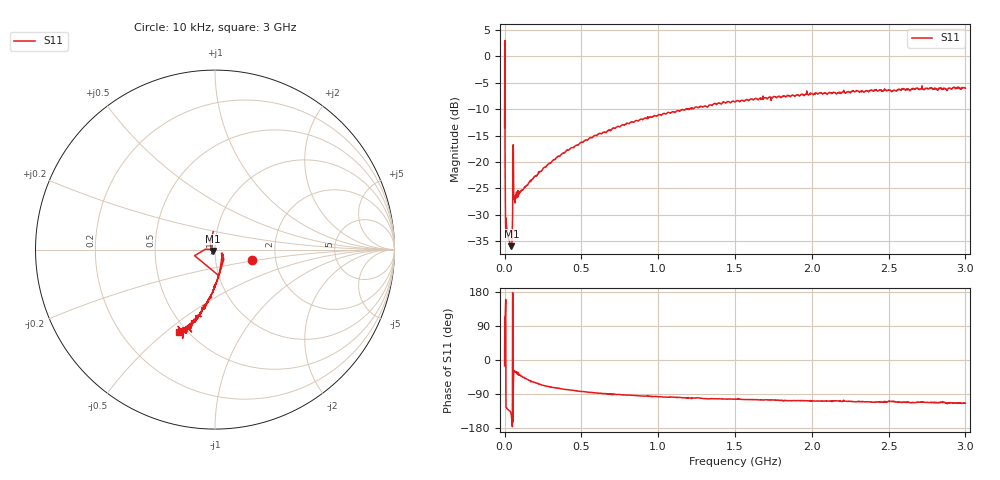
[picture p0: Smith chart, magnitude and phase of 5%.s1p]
# HZ S RI R 50
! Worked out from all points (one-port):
!   2020 points, 10 kHz to 3 GHz, reference 50 ohm
!   lowest |S11| = -35.9 dB at 44.59 MHz (marker M1), VSWR 1.03, Z = 48.6 - j0.81 ohm
!   |S11| at or under -10 dB: start of sweep to 321.7 kHz; 2.337 MHz to 1.179 GHz (1.176 GHz wide, 199 % of centre); 1.196 GHz to 1.202 GHz (6.667 MHz wide, 0.556 % of centre)
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10000  0.2047 -0.0568
1.635467e7  -0.0133 -0.0173
1.784055e7  -0.0133 -0.0164
2.081231e7  -0.0129 -0.0152
3.121346e7  -0.0121 -0.0128
3.56711e7  -0.0121 -0.012
3.864285e7  -0.0122 -0.0112
4.161461e7  -0.0126 -0.0101
4.458637e7  -0.0136 -0.00832
6.39028e7  0.0386 -0.0215
6.836043e7  0.035 -0.0214
6.984631e7  0.0393 -0.0249
7.281807e7  0.0383 -0.0245
7.578983e7  0.0435 -0.0269
2.600388e8  0.0336 -0.0825
3.759374e8  0.0282 -0.1171
5.735593e8  0.012 -0.1713
7.503789e8  -0.00405 -0.2149
9.034244e8  -0.0223 -0.2542
1.126306e9  -0.0465 -0.3031
1.500748e9  -0.0837 -0.3603
1.875189e9  -0.1266 -0.41
2.251117e9  -0.1477 -0.4271
2.404162e9  -0.1749 -0.4432
2.515603e9  -0.1544 -0.4431
2.625558e9  -0.1809 -0.4538
2.852898e9  -0.1855 -0.4508
3e9  -0.203 -0.4576
